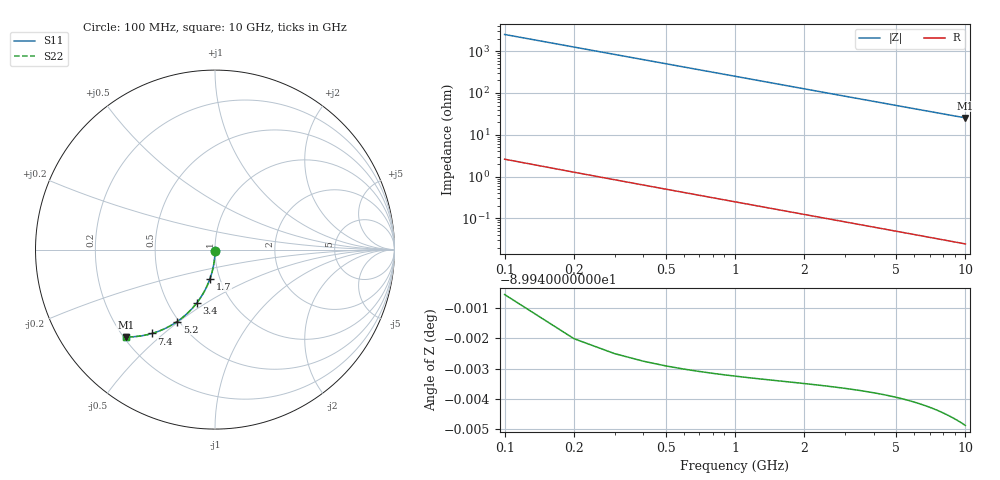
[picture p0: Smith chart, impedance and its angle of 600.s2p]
# Hz S RI R 50.00
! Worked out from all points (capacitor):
!   100 points, 100 MHz to 10 GHz, reference 50 ohm
!   read as one part in shunt: C = 632 fF near 100 MHz
!   lowest |Z| = 25.5 ohm at 10 GHz (marker M1)
!   S11 on the Smith chart (normalised r, x): 100 MHz: 1.00, -0.02; 1.7 GHz: 0.90, -0.30; 3.4 GHz: 0.69, -0.46; 5.2 GHz: 0.49, -0.49; 7.4 GHz: 0.32, -0.46; 10 GHz: 0.21, -0.39
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1e8  -8.24e-05 -0.0098  0.9999 -0.0101  0.9999 -0.0101  -8.24e-05 -0.0098
2e8  -0.000388 -0.0196  0.9996 -0.0201  0.9996 -0.0201  -0.000388 -0.0196
3e8  -0.00089 -0.0294  0.9991 -0.0301  0.9991 -0.0301  -0.00089 -0.0294
4e8  -0.00159 -0.0391  0.9984 -0.0402  0.9984 -0.0402  -0.00159 -0.0391
5e8  -0.00248 -0.0489  0.9975 -0.0502  0.9975 -0.0502  -0.00248 -0.0489
6e8  -0.00357 -0.0586  0.9964 -0.0601  0.9964 -0.0601  -0.00357 -0.0586
8e8  -0.00632 -0.0779  0.9936 -0.0799  0.9936 -0.0799  -0.00632 -0.0779
1.1e9  -0.0119 -0.1065  0.9881 -0.1093  0.9881 -0.1093  -0.0119 -0.1065
1.4e9  -0.0191 -0.1346  0.9809 -0.1381  0.9809 -0.1381  -0.0191 -0.1346
1.7e9  -0.0278 -0.1619  0.9721 -0.1663  0.9721 -0.1663  -0.0278 -0.1619
1.8e9  -0.0311 -0.1709  0.9688 -0.1754  0.9688 -0.1754  -0.0311 -0.1709
2.1e9  -0.0418 -0.1971  0.9581 -0.2024  0.9581 -0.2024  -0.0418 -0.1971
2.5e9  -0.0582 -0.2306  0.9417 -0.2369  0.9417 -0.2369  -0.0582 -0.2306
2.9e9  -0.0768 -0.2621  0.9231 -0.2695  0.9231 -0.2695  -0.0768 -0.2621
3.4e9  -0.1025 -0.2986  0.8974 -0.3073  0.8974 -0.3073  -0.1025 -0.2986
4.2e9  -0.1484 -0.3497  0.8515 -0.3605  0.8515 -0.3605  -0.1484 -0.3497
5.1e9  -0.2044 -0.3962  0.7955 -0.4094  0.7955 -0.4094  -0.2044 -0.3962
5.2e9  -0.2108 -0.4007  0.7891 -0.4141  0.7891 -0.4141  -0.2108 -0.4007
6.7e9  -0.3072 -0.4522  0.6926 -0.4696  0.6926 -0.4696  -0.3072 -0.4522
7.4e9  -0.3511 -0.4672  0.6487 -0.4865  0.6487 -0.4865  -0.3511 -0.4672
8.4e9  -0.4108 -0.4805  0.5889 -0.5025  0.5889 -0.5025  -0.4108 -0.4805
1e10  -0.4972 -0.4863  0.5024 -0.5127  0.5024 -0.5127  -0.4972 -0.4863
